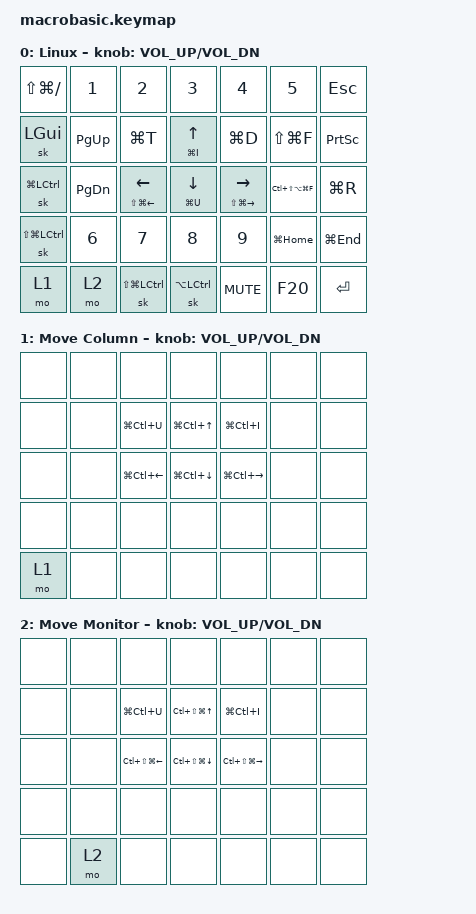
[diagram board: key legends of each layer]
#include <behaviors.dtsi>
#include <dt-bindings/zmk/keys.h>
#include <dt-bindings/zmk/modifiers.h>

/ {
    behaviors {
        /* Hold–tap: tap-preferred, 200 ms tap term (see text.txt). Hold = first param, tap = second. */
        nav: hold-tap {
            compatible = "zmk,behavior-hold-tap";
            #binding-cells = <2>;
            tapping-term-ms = <200>;
            quick-tap-ms = <150>;
            flavor = "tap-preferred";
            bindings = <&kp>, <&kp>;
        };
    };

    keymap {
        compatible = "zmk,keymap";

        default_layer {
            display-name = "Linux";

            bindings = <
                /* Row 1: F1, 1–5, Esc */
                &kp LS(LG(SLASH)) &kp N1 &kp N2 &kp N3 &kp N4 &kp N5 &kp ESCAPE

                /* Row 2: F2, PgUp, Mod+T, Up (tap) / Mod+i (hold), Mod+d, Mod+Shift+F, PrtSc */
                &sk LGUI &kp PG_UP &kp LG(T) &nav LG(I) UP &kp LG(D) &kp LS(LG(F)) &kp PRINTSCREEN

                /* Row 3: F3 sk Mod+Ctrl, PgDn, arrows + Ins, Firefox, Mod+R */
                &sk LG(LCTRL) &kp PG_DN &nav LS(LG(LEFT)) LEFT &nav LG(U) DOWN &nav LS(LG(RIGHT)) RIGHT &kp LC(LS(LA(LG(F)))) &kp LG(R)

                /* Row 4: F4 sk Mod+Shift+Ctrl, 6–9, *→Mod+Home, End→Mod+End */
                &sk LS(LG(LCTRL)) &kp N6 &kp N7 &kp N8 &kp N9 &kp LG(HOME) &kp LG(END)

            /* Row 5: Momentary layer keys, then existing controls */
                &mo 1 &mo 2 &sk LS(LG(LCTRL)) &sk LA(LCTRL) &kp C_MUTE &kp F20 &kp ENTER
            >;

            sensor-bindings = <&inc_dec_kp C_VOL_UP C_VOL_DN>;
        };

        move_column_layer {
            display-name = "Move Column";

            bindings = <
                /* Row 1 */
                &none &none &none &none &none &none &none

                /* Row 2 (keys 3-5 active) */
                &none &none &kp LG(LC(U)) &kp LG(LC(UP)) &kp LG(LC(I)) &none &none

                /* Row 3 (keys 3-5 active) */
                &none &none &kp LG(LC(LEFT)) &kp LG(LC(DOWN)) &kp LG(LC(RIGHT)) &none &none

                /* Row 4 */
                &none &none &none &none &none &none &none

                /* Row 5 */
                &mo 1 &none &none &none &none &none &none
            >;

            sensor-bindings = <&inc_dec_kp C_VOL_UP C_VOL_DN>;
        };

        move_monitor_layer {
            display-name = "Move Monitor";

            bindings = <
                /* Row 1 */
                &none &none &none &none &none &none &none

                /* Row 2 (keys 3-5 active) */
                &none &none &kp LG(LC(U)) &kp LC(LS(LG(UP))) &kp LG(LC(I)) &none &none

                /* Row 3 (keys 3-5 active) */
                &none &none &kp LC(LS(LG(LEFT))) &kp LC(LS(LG(DOWN))) &kp LC(LS(LG(RIGHT))) &none &none

                /* Row 4 */
                &none &none &none &none &none &none &none

                /* Row 5 */
                &none &mo 2 &none &none &none &none &none
            >;

            sensor-bindings = <&inc_dec_kp C_VOL_UP C_VOL_DN>;
        };
    };
};

/* Default mod-tap tap term 200 ms (text.txt) */
&mt {
    tapping-term-ms = <200>;
};
